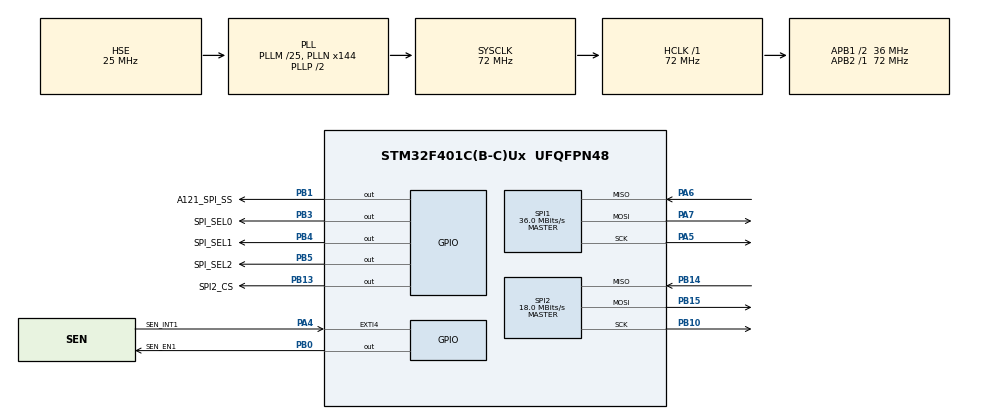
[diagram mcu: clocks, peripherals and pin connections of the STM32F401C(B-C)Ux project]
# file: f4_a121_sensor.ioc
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Mcu.Family=STM32F4
Mcu.Name=STM32F401C(B-C)Ux
Mcu.Package=UFQFPN48
NVIC.EXTI4_IRQn=true\:0\:0\:false\:false\:true\:true\:true\:true
NVIC.PriorityGroup=NVIC_PRIORITYGROUP_4
PA13.Mode=Serial_Wire
PA13.Signal=SYS_JTMS-SWDIO
PA14.Mode=Serial_Wire
PA14.Signal=SYS_JTCK-SWCLK
PA4.GPIO_Label=SEN_INT1
PA4.Signal=GPXTI4
PA5.Mode=Full_Duplex_Master
PA5.Signal=SPI1_SCK
PA6.Mode=Full_Duplex_Master
PA6.Signal=SPI1_MISO
PA7.Mode=Full_Duplex_Master
PA7.Signal=SPI1_MOSI
PB0.GPIO_Label=SEN_EN1
PB0.GPIO_Speed=GPIO_SPEED_FREQ_VERY_HIGH
PB0.Signal=GPIO_Output
PB1.GPIO_Label=A121_SPI_SS
PB1.GPIO_Speed=GPIO_SPEED_FREQ_VERY_HIGH
PB1.Signal=GPIO_Output
PB10.Mode=Full_Duplex_Master
PB10.Signal=SPI2_SCK
PB13.GPIO_Label=SPI2_CS
PB13.GPIO_Speed=GPIO_SPEED_FREQ_LOW
PB13.PinState=GPIO_PIN_RESET
PB13.Signal=GPIO_Output
PB14.Mode=Full_Duplex_Master
PB14.Signal=SPI2_MISO
PB15.Mode=Full_Duplex_Master
PB15.Signal=SPI2_MOSI
PB3.GPIO_Label=SPI_SEL0
PB3.Signal=GPIO_Output
PB4.GPIO_Label=SPI_SEL1
PB4.Signal=GPIO_Output
PB5.GPIO_Label=SPI_SEL2
PB5.Signal=GPIO_Output
PH0\ -\ OSC_IN.Mode=HSE-External-Oscillator
PH0\ -\ OSC_IN.Signal=RCC_OSC_IN
PH1\ -\ OSC_OUT.Mode=HSE-External-Oscillator
PH1\ -\ OSC_OUT.Signal=RCC_OSC_OUT
ProjectManager.HeapSize=0x200
ProjectManager.StackSize=0x400
ProjectManager.TargetToolchain=STM32CubeIDE
RCC.48MHZClocksFreq_Value=48000000
RCC.AHBFreq_Value=72000000
RCC.APB1CLKDivider=RCC_HCLK_DIV2
RCC.APB1Freq_Value=36000000
RCC.APB1TimFreq_Value=72000000
RCC.APB2Freq_Value=72000000
RCC.APB2TimFreq_Value=72000000
RCC.CortexFreq_Value=72000000
RCC.HCLKFreq_Value=72000000
RCC.HSE_VALUE=25000000
RCC.HSI_VALUE=16000000
RCC.LSE_VALUE=32768
RCC.PLLM=25
RCC.PLLN=144
RCC.PLLQ=3
RCC.PLLSourceVirtual=RCC_PLLSOURCE_HSE
RCC.SYSCLKFreq_VALUE=72000000
RCC.SYSCLKSource=RCC_SYSCLKSOURCE_PLLCLK
RCC.VCOOutputFreq_Value=144000000
SPI1.BaudRatePrescaler=SPI_BAUDRATEPRESCALER_2
SPI1.CalculateBaudRate=36.0 MBits/s
SPI1.Direction=SPI_DIRECTION_2LINES
SPI1.Mode=SPI_MODE_MASTER
SPI1.VirtualType=VM_MASTER
SPI2.BaudRatePrescaler=SPI_BAUDRATEPRESCALER_2
SPI2.CalculateBaudRate=18.0 MBits/s
SPI2.Direction=SPI_DIRECTION_2LINES
SPI2.Mode=SPI_MODE_MASTER
SPI2.VirtualType=VM_MASTER
TIM2.Period=100-1
TIM2.Prescaler=72-1
VP_TIM2_VS_ClockSourceINT.Mode=Internal
board=custom

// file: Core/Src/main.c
/* USER CODE BEGIN Header */
/**
 ******************************************************************************
 * @file           : main.c
 * @brief          : Main program body
 ******************************************************************************
 * @attention
 *
 * Copyright (c) 2023 STMicroelectronics.
 * All rights reserved.
 *
 * This software is licensed under terms that can be found in the LICENSE file
 * in the root directory of this software component.
 * If no LICENSE file comes with this software, it is provided AS-IS.
 *
 ******************************************************************************
 */
/* USER CODE END Header */
#include "main.h"

/* USER CODE BEGIN Includes */
#include "print_data_config.h"
#include "example_basic_service.h"
#include "canspi.h"
/* USER CODE END Includes */

SPI_HandleTypeDef hspi1;
SPI_HandleTypeDef hspi2;

TIM_HandleTypeDef htim2;

void SystemClock_Config(void);
static void MX_GPIO_Init(void);
static void MX_SPI1_Init(void);
static void MX_TIM2_Init(void);
static void MX_SPI2_Init(void);

int main(void)
{

  /* MCU Configuration--------------------------------------------------------*/

  /* Reset of all peripherals, Initializes the Flash interface and the Systick. */
  HAL_Init();

  /* Configure the system clock */
  SystemClock_Config();

  /* Initialize all configured peripherals */
  MX_GPIO_Init();
  MX_SPI1_Init();
  MX_TIM2_Init();
  MX_SPI2_Init();
  /* USER CODE BEGIN 2 */

  // Initialize CAN
  if(!CANSPI_Initialize()){
	  printf("ERROR: Failed to Initialize MSP Device.\r\n");
	  while(!CANSPI_Initialize()){
		  printf("ERROR: Failed to Initialize MSP Device.\r\n");
//      HAL_GPIO_TogglePin(ALARM_LIGHT_GPIO_Port, ALARM_LIGHT_Pin);
		  HAL_Delay(300);
	  }
  }

  float x_intercepts[] = {.1, 0.20, 2.20};
  int y_intercepts[] = {4000, 800, 75};

  const PrintDataConfig print_data_config = {
      .start = 10,
      .step = 2,
      .x_intercepts = {x_intercepts[0], x_intercepts[1], x_intercepts[2]},
      .y_intercepts = {y_intercepts[0], y_intercepts[1], y_intercepts[2]},
      .line1_slope = (float)(y_intercepts[1] - y_intercepts[0]) / (x_intercepts[1] - x_intercepts[0]),
      .line2_slope = (float)(y_intercepts[2] - y_intercepts[1]) / (x_intercepts[2] - x_intercepts[1]),
      .y_inter_line1 = -(((float)(y_intercepts[1] - y_intercepts[0]) / (x_intercepts[1] - x_intercepts[0]) * x_intercepts[0]) - y_intercepts[0]),
      .y_inter_line2 = -(((float)(y_intercepts[2] - y_intercepts[1]) / (x_intercepts[2] - x_intercepts[1]) * x_intercepts[1]) - y_intercepts[1]),
      .sweeps_per_frame = 1,
      .frame_rate = 100.0f,
      .start_point = 14,
      .num_points = 100,
      .profile = 1,
      .receiver_gain = 14,
      .prf = 0
  };
  /* USER CODE END 2 */

  /* Infinite loop */
  /* USER CODE BEGIN WHILE */
	while (1) {
		acc_example_service(0, NULL, &print_data_config);
//		acc_example_detector_distance_with_iq_data_print(0, NULL);
    /* USER CODE END WHILE */

    /* USER CODE BEGIN 3 */
		HAL_Delay(100);
	}
  /* USER CODE END 3 */
}

void SystemClock_Config(void)
{
  RCC_OscInitTypeDef RCC_OscInitStruct = {0};
  RCC_ClkInitTypeDef RCC_ClkInitStruct = {0};

  /** Configure the main internal regulator output voltage
  */
  __HAL_RCC_PWR_CLK_ENABLE();
  __HAL_PWR_VOLTAGESCALING_CONFIG(PWR_REGULATOR_VOLTAGE_SCALE2);

  /** Initializes the RCC Oscillators according to the specified parameters
  * in the RCC_OscInitTypeDef structure.
  */
  RCC_OscInitStruct.OscillatorType = RCC_OSCILLATORTYPE_HSE;
  RCC_OscInitStruct.HSEState = RCC_HSE_ON;
  RCC_OscInitStruct.PLL.PLLState = RCC_PLL_ON;
  RCC_OscInitStruct.PLL.PLLSource = RCC_PLLSOURCE_HSE;
  RCC_OscInitStruct.PLL.PLLM = 25;
  RCC_OscInitStruct.PLL.PLLN = 144;
  RCC_OscInitStruct.PLL.PLLP = RCC_PLLP_DIV2;
  RCC_OscInitStruct.PLL.PLLQ = 3;
  if (HAL_RCC_OscConfig(&RCC_OscInitStruct) != HAL_OK)
  {
    Error_Handler();
  }

  /** Initializes the CPU, AHB and APB buses clocks
  */
  RCC_ClkInitStruct.ClockType = RCC_CLOCKTYPE_HCLK|RCC_CLOCKTYPE_SYSCLK
                              |RCC_CLOCKTYPE_PCLK1|RCC_CLOCKTYPE_PCLK2;
  RCC_ClkInitStruct.SYSCLKSource = RCC_SYSCLKSOURCE_PLLCLK;
  RCC_ClkInitStruct.AHBCLKDivider = RCC_SYSCLK_DIV1;
  RCC_ClkInitStruct.APB1CLKDivider = RCC_HCLK_DIV2;
  RCC_ClkInitStruct.APB2CLKDivider = RCC_HCLK_DIV1;

  if (HAL_RCC_ClockConfig(&RCC_ClkInitStruct, FLASH_LATENCY_2) != HAL_OK)
  {
    Error_Handler();
  }
}

static void MX_SPI1_Init(void)
{

  /* SPI1 parameter configuration*/
  hspi1.Instance = SPI1;
  hspi1.Init.Mode = SPI_MODE_MASTER;
  hspi1.Init.Direction = SPI_DIRECTION_2LINES;
  hspi1.Init.DataSize = SPI_DATASIZE_8BIT;
  hspi1.Init.CLKPolarity = SPI_POLARITY_LOW;
  hspi1.Init.CLKPhase = SPI_PHASE_1EDGE;
  hspi1.Init.NSS = SPI_NSS_SOFT;
  hspi1.Init.BaudRatePrescaler = SPI_BAUDRATEPRESCALER_2;
  hspi1.Init.FirstBit = SPI_FIRSTBIT_MSB;
  hspi1.Init.TIMode = SPI_TIMODE_DISABLE;
  hspi1.Init.CRCCalculation = SPI_CRCCALCULATION_DISABLE;
  hspi1.Init.CRCPolynomial = 10;
  if (HAL_SPI_Init(&hspi1) != HAL_OK)
  {
    Error_Handler();
  }

}

static void MX_SPI2_Init(void)
{

  /* SPI2 parameter configuration*/
  hspi2.Instance = SPI2;
  hspi2.Init.Mode = SPI_MODE_MASTER;
  hspi2.Init.Direction = SPI_DIRECTION_2LINES;
  hspi2.Init.DataSize = SPI_DATASIZE_8BIT;
  hspi2.Init.CLKPolarity = SPI_POLARITY_LOW;
  hspi2.Init.CLKPhase = SPI_PHASE_1EDGE;
  hspi2.Init.NSS = SPI_NSS_SOFT;
  hspi2.Init.BaudRatePrescaler = SPI_BAUDRATEPRESCALER_2;
  hspi2.Init.FirstBit = SPI_FIRSTBIT_MSB;
  hspi2.Init.TIMode = SPI_TIMODE_DISABLE;
  hspi2.Init.CRCCalculation = SPI_CRCCALCULATION_DISABLE;
  hspi2.Init.CRCPolynomial = 10;
  if (HAL_SPI_Init(&hspi2) != HAL_OK)
  {
    Error_Handler();
  }

}

static void MX_TIM2_Init(void)
{

  TIM_ClockConfigTypeDef sClockSourceConfig = {0};
  TIM_MasterConfigTypeDef sMasterConfig = {0};

  htim2.Instance = TIM2;
  htim2.Init.Prescaler = 72-1;
  htim2.Init.CounterMode = TIM_COUNTERMODE_UP;
  htim2.Init.Period = 100-1;
  htim2.Init.ClockDivision = TIM_CLOCKDIVISION_DIV1;
  htim2.Init.AutoReloadPreload = TIM_AUTORELOAD_PRELOAD_DISABLE;
  if (HAL_TIM_Base_Init(&htim2) != HAL_OK)
  {
    Error_Handler();
  }
  sClockSourceConfig.ClockSource = TIM_CLOCKSOURCE_INTERNAL;
  if (HAL_TIM_ConfigClockSource(&htim2, &sClockSourceConfig) != HAL_OK)
  {
    Error_Handler();
  }
  sMasterConfig.MasterOutputTrigger = TIM_TRGO_RESET;
  sMasterConfig.MasterSlaveMode = TIM_MASTERSLAVEMODE_DISABLE;
  if (HAL_TIMEx_MasterConfigSynchronization(&htim2, &sMasterConfig) != HAL_OK)
  {
    Error_Handler();
  }

}

static void MX_GPIO_Init(void)
{
  GPIO_InitTypeDef GPIO_InitStruct = {0};

  /* GPIO Ports Clock Enable */
  __HAL_RCC_GPIOH_CLK_ENABLE();
  __HAL_RCC_GPIOA_CLK_ENABLE();
  __HAL_RCC_GPIOB_CLK_ENABLE();

  /*Configure GPIO pin Output Level */
  HAL_GPIO_WritePin(GPIOB, SEN_EN1_Pin|A121_SPI_SS_Pin|SPI2_CS_Pin|SPI_SEL0_Pin
                          |SPI_SEL1_Pin|SPI_SEL2_Pin, GPIO_PIN_RESET);

  /*Configure GPIO pin : SEN_INT1_Pin */
  GPIO_InitStruct.Pin = SEN_INT1_Pin;
  GPIO_InitStruct.Mode = GPIO_MODE_IT_RISING;
  GPIO_InitStruct.Pull = GPIO_NOPULL;
  HAL_GPIO_Init(SEN_INT1_GPIO_Port, &GPIO_InitStruct);

  /*Configure GPIO pins : SEN_EN1_Pin A121_SPI_SS_Pin */
  GPIO_InitStruct.Pin = SEN_EN1_Pin|A121_SPI_SS_Pin;
  GPIO_InitStruct.Mode = GPIO_MODE_OUTPUT_PP;
  GPIO_InitStruct.Pull = GPIO_NOPULL;
  GPIO_InitStruct.Speed = GPIO_SPEED_FREQ_VERY_HIGH;
  HAL_GPIO_Init(GPIOB, &GPIO_InitStruct);

  /*Configure GPIO pins : SPI2_CS_Pin SPI_SEL0_Pin SPI_SEL1_Pin SPI_SEL2_Pin */
  GPIO_InitStruct.Pin = SPI2_CS_Pin|SPI_SEL0_Pin|SPI_SEL1_Pin|SPI_SEL2_Pin;
  GPIO_InitStruct.Mode = GPIO_MODE_OUTPUT_PP;
  GPIO_InitStruct.Pull = GPIO_NOPULL;
  GPIO_InitStruct.Speed = GPIO_SPEED_FREQ_LOW;
  HAL_GPIO_Init(GPIOB, &GPIO_InitStruct);

  /* EXTI interrupt init*/
  HAL_NVIC_SetPriority(EXTI4_IRQn, 0, 0);
  HAL_NVIC_EnableIRQ(EXTI4_IRQn);

}

void Error_Handler(void)
{
	__disable_irq();
	while (1) {
	}
}
